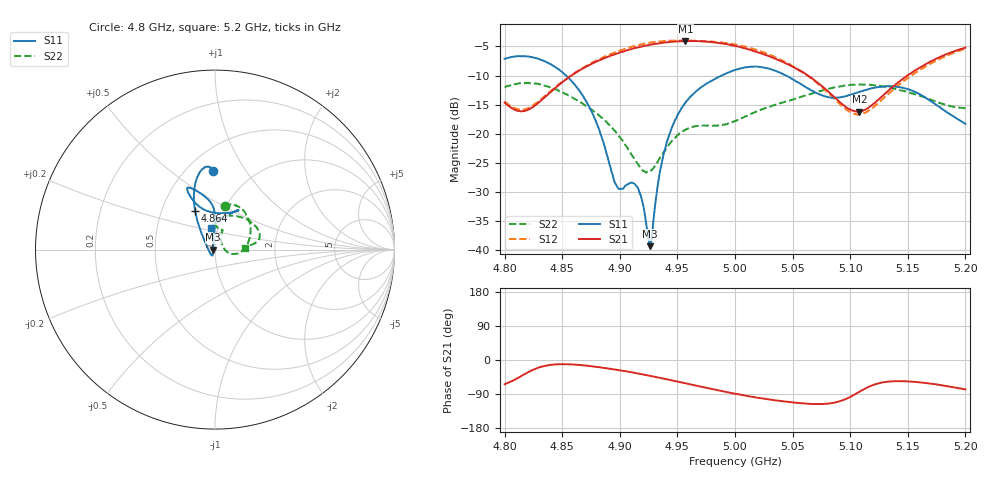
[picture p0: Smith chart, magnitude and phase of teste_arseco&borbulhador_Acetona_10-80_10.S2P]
! Network Analyzer HP8722D
! Hewlett-Packard
! Data name: Linha & Wilkinson
! Saver's name: Rodrigo Anjos
! Comments: Teste da utilização de aquisição
! continua pelo VNA HP8722D
! Time and date: 25/4/2025 15:21
!  Frequency  S11  S21  S12  S22
# HZ  S  MA R 50
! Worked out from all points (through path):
!   401 points, 4.8 GHz to 5.2 GHz, reference 50 ohm
!   highest |S21| = -4.05 dB at 4.957 GHz (marker M1); lowest = -16.2 dB at 5.108 GHz (marker M2)
!   lowest |S11| = -39.4 dB at 4.926 GHz (marker M3), VSWR 1.02, Z = 48.9 - j0.0218 ohm
!   |S11| at or under -10 dB: 4.853 GHz to 4.988 GHz (135 MHz wide, 2.74 % of centre); 5.044 GHz to end of sweep
!   |S22| runs from -26.7 to -11.3 dB; largest |S21 - S12| = 1.2
!   S11 on the Smith chart (normalised r, x): 4.8 GHz: 0.67, +0.73; 4.864 GHz: 0.74, +0.33; 5.2 GHz: 0.93, +0.22
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4.8e9  0.4403 91.1  0.1847 -63.9  0.1893 69.4  0.2486 76.6
4.82e9  0.4594 97.5  0.1598 -32.6  0.1654 98.0  0.2724 61.7
4.843e9  0.3795 106.9  0.2427 -11.9  0.2462 118.6  0.2435 37.0
4.864e9  0.241 117.3  0.3455 -13.0  0.3479 120.8  0.1906 12.8
4.867e9  0.2183 118.9  0.3589 -13.8  0.3627 120.6  0.1834 9.7
4.88e9  0.1223 128.7  0.4171 -18.5  0.4271 118.1  0.1484 -4.0
4.897e9  0.03606 -175.8  0.4867 -25.7  0.5061 113.0  0.1018 -14.1
4.911e9  0.03764 -116.4  0.5373 -32.8  0.5616 106.7  0.06415 -9.1
4.916e9  0.0337 -114.0  0.5525 -35.7  0.5787 104.2  0.05416 0.4
4.926e9  0.01076 -178.8  0.5823 -41.6  0.6044 98.3  0.0469 33.7
4.928e9  0.01324 140.3  0.5862 -42.8  0.6093 97.1  0.04898 40.6
4.934e9  0.04191 101.4  0.597 -46.5  0.6209 93.2  0.05996 55.8
4.943e9  0.09809 92.1  0.6148 -52.4  0.6308 87.5  0.08089 65.7
4.957e9  0.1852 90.1  0.627 -61.5  0.632 78.6  0.108 68.5
5e9  0.3531 109.1  0.5678 -89.1  0.5868 50.8  0.1286 86.4
5.03e9  0.3614 115.1  0.4613 -104.2  0.4766 33.8  0.17 84.9
5.067e9  0.2339 106.0  0.2985 -116.0  0.2952 23.5  0.2217 57.0
5.086e9  0.2032 86.5  0.2071 -112.7  0.2008 28.5  0.2492 39.8
5.108e9  0.2287 65.3  0.1546 -83.7  0.1465 59.4  0.2643 23.6
5.134e9  0.2557 59.2  0.2385 -56.8  0.2236 88.6  0.2488 12.5
5.168e9  0.1963 71.4  0.4077 -61.7  0.3915 85.2  0.1982 7.3
5.2e9  0.1215 101.0  0.5491 -77.4  0.5365 70.2  0.1656 3.7
